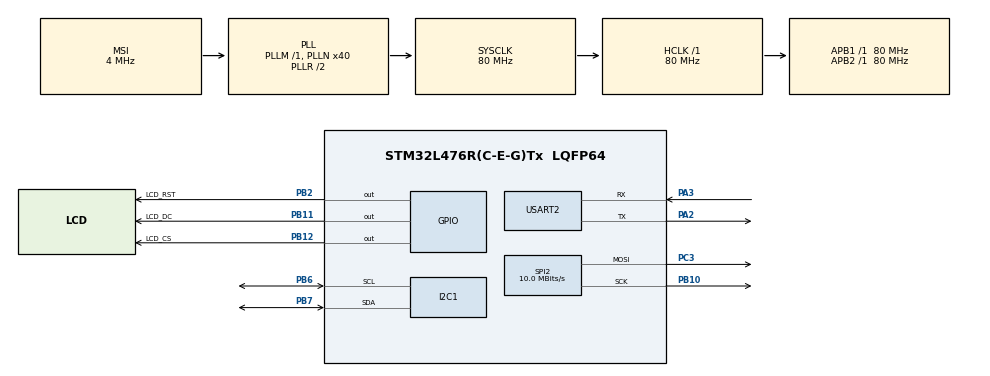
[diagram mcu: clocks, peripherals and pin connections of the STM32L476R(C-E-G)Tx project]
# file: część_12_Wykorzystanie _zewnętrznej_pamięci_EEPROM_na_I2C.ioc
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Dma.Request0=SPI2_TX
Dma.SPI2_TX.0.Direction=DMA_MEMORY_TO_PERIPH
Dma.SPI2_TX.0.Instance=DMA1_Channel5
Dma.SPI2_TX.0.MemDataAlignment=DMA_MDATAALIGN_BYTE
Dma.SPI2_TX.0.MemInc=DMA_MINC_ENABLE
Dma.SPI2_TX.0.Mode=DMA_NORMAL
Dma.SPI2_TX.0.PeriphDataAlignment=DMA_PDATAALIGN_BYTE
Dma.SPI2_TX.0.PeriphInc=DMA_PINC_DISABLE
Dma.SPI2_TX.0.Priority=DMA_PRIORITY_LOW
I2C1.Timing=0x10D19CE4
Mcu.Family=STM32L4
Mcu.Name=STM32L476R(C-E-G)Tx
Mcu.Package=LQFP64
NVIC.DMA1_Channel5_IRQn=true\:0\:0\:false\:false\:true\:false\:true\:true
NVIC.PriorityGroup=NVIC_PRIORITYGROUP_4
NVIC.USART2_IRQn=true\:12\:0\:true\:false\:true\:true\:true\:true
PA2.Mode=Asynchronous
PA2.Signal=USART2_TX
PA3.Mode=Asynchronous
PA3.Signal=USART2_RX
PB10.Mode=TX_Only_Simplex_Unidirect_Master
PB10.Signal=SPI2_SCK
PB11.GPIO_Label=LCD_DC
PB11.Signal=GPIO_Output
PB12.GPIO_Label=LCD_CS
PB12.PinState=GPIO_PIN_SET
PB12.Signal=GPIO_Output
PB2.GPIO_Label=LCD_RST
PB2.Signal=GPIO_Output
PB6.Mode=I2C
PB6.Signal=I2C1_SCL
PB7.Mode=I2C
PB7.Signal=I2C1_SDA
PC3.Mode=TX_Only_Simplex_Unidirect_Master
PC3.Signal=SPI2_MOSI
ProjectManager.HeapSize=0x200
ProjectManager.StackSize=0x400
ProjectManager.TargetToolchain=STM32CubeIDE
RCC.AHBFreq_Value=80000000
RCC.APB1Freq_Value=80000000
RCC.APB1TimFreq_Value=80000000
RCC.APB2Freq_Value=80000000
RCC.APB2TimFreq_Value=80000000
RCC.CortexFreq_Value=80000000
RCC.HCLKFreq_Value=80000000
RCC.HSE_VALUE=8000000
RCC.HSI_VALUE=16000000
RCC.LSE_VALUE=32768
RCC.MSI_VALUE=4000000
RCC.PLLN=40
RCC.SYSCLKFreq_VALUE=80000000
RCC.SYSCLKSource=RCC_SYSCLKSOURCE_PLLCLK
RCC.VCOOutputFreq_Value=160000000
SPI2.BaudRatePrescaler=SPI_BAUDRATEPRESCALER_8
SPI2.CalculateBaudRate=10.0 MBits/s
SPI2.DataSize=SPI_DATASIZE_8BIT
SPI2.Direction=SPI_DIRECTION_2LINES
SPI2.Mode=SPI_MODE_MASTER
SPI2.VirtualType=VM_MASTER
USART2.VirtualMode-Asynchronous=VM_ASYNC
board=custom

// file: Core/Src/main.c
/* USER CODE BEGIN Header */
/**
  ******************************************************************************
  * @file           : main.c
  * @brief          : Main program body
  ******************************************************************************
  * @attention
  *
  * Copyright (c) 2026 STMicroelectronics.
  * All rights reserved.
  *
  * This software is licensed under terms that can be found in the LICENSE file
  * in the root directory of this software component.
  * If no LICENSE file comes with this software, it is provided AS-IS.
  *
  ******************************************************************************
  */
/* USER CODE END Header */
#include "main.h"
#include "dma.h"
#include "i2c.h"
#include "spi.h"
#include "usart.h"
#include "gpio.h"

/* USER CODE BEGIN Includes */
#include "stdio.h"
#include "hagl.h"
#include "font6x9.h"
#include "rgb565.h"
#include "eeprom.h"
/* USER CODE END Includes */

void SystemClock_Config(void);

/* USER CODE BEGIN 0 */
int __io_putchar(int ch)
{
  if (ch == '\n') {
    __io_putchar('\r');
  }
  HAL_UART_Transmit(&huart2, (uint8_t*)&ch, 1, HAL_MAX_DELAY);
  return 1;
}
/* USER CODE END 0 */

int main(void)
{

  /* MCU Configuration--------------------------------------------------------*/

  /* Reset of all peripherals, Initializes the Flash interface and the Systick. */
  HAL_Init();

  /* Configure the system clock */
  SystemClock_Config();

  /* Initialize all configured peripherals */
  MX_GPIO_Init();
  MX_DMA_Init();
  MX_SPI2_Init();
  MX_USART2_UART_Init();
  MX_I2C1_Init();
  /* USER CODE BEGIN 2 */
wchar_t textBuffer[16];
uint32_t counter = 0;

lcd_init();
hagl_backend_t *display = hagl_init();

while (eeprom_read(0x10, &counter, sizeof(counter)) != HAL_OK){}

counter++;

printf("Launch number: %lu\n", counter);

hagl_put_text(display, L"Launch number:", 5, 60, rgb565(255, 255, 255), font6x9);
swprintf(textBuffer, sizeof(textBuffer)/sizeof(wchar_t), L"%lu", counter);
hagl_put_text(display, textBuffer, 95, 60, rgb565(255, 255, 255), font6x9);
hagl_flush(display);

if (eeprom_write(0x10, &counter, sizeof(counter)) != HAL_OK)
	Error_Handler();
  /* USER CODE END 2 */

  /* Infinite loop */
  while (1)
  {

  }
}

void SystemClock_Config(void)
{
  RCC_OscInitTypeDef RCC_OscInitStruct = {0};
  RCC_ClkInitTypeDef RCC_ClkInitStruct = {0};

  /** Configure the main internal regulator output voltage
  */
  if (HAL_PWREx_ControlVoltageScaling(PWR_REGULATOR_VOLTAGE_SCALE1) != HAL_OK)
  {
    Error_Handler();
  }

  /** Initializes the RCC Oscillators according to the specified parameters
  * in the RCC_OscInitTypeDef structure.
  */
  RCC_OscInitStruct.OscillatorType = RCC_OSCILLATORTYPE_MSI;
  RCC_OscInitStruct.MSIState = RCC_MSI_ON;
  RCC_OscInitStruct.MSICalibrationValue = 0;
  RCC_OscInitStruct.MSIClockRange = RCC_MSIRANGE_6;
  RCC_OscInitStruct.PLL.PLLState = RCC_PLL_ON;
  RCC_OscInitStruct.PLL.PLLSource = RCC_PLLSOURCE_MSI;
  RCC_OscInitStruct.PLL.PLLM = 1;
  RCC_OscInitStruct.PLL.PLLN = 40;
  RCC_OscInitStruct.PLL.PLLP = RCC_PLLP_DIV7;
  RCC_OscInitStruct.PLL.PLLQ = RCC_PLLQ_DIV2;
  RCC_OscInitStruct.PLL.PLLR = RCC_PLLR_DIV2;
  if (HAL_RCC_OscConfig(&RCC_OscInitStruct) != HAL_OK)
  {
    Error_Handler();
  }

  /** Initializes the CPU, AHB and APB buses clocks
  */
  RCC_ClkInitStruct.ClockType = RCC_CLOCKTYPE_HCLK|RCC_CLOCKTYPE_SYSCLK
                              |RCC_CLOCKTYPE_PCLK1|RCC_CLOCKTYPE_PCLK2;
  RCC_ClkInitStruct.SYSCLKSource = RCC_SYSCLKSOURCE_PLLCLK;
  RCC_ClkInitStruct.AHBCLKDivider = RCC_SYSCLK_DIV1;
  RCC_ClkInitStruct.APB1CLKDivider = RCC_HCLK_DIV1;
  RCC_ClkInitStruct.APB2CLKDivider = RCC_HCLK_DIV1;

  if (HAL_RCC_ClockConfig(&RCC_ClkInitStruct, FLASH_LATENCY_4) != HAL_OK)
  {
    Error_Handler();
  }
}

void Error_Handler(void)
{
  __disable_irq();
  while (1)
  {
  }
}
